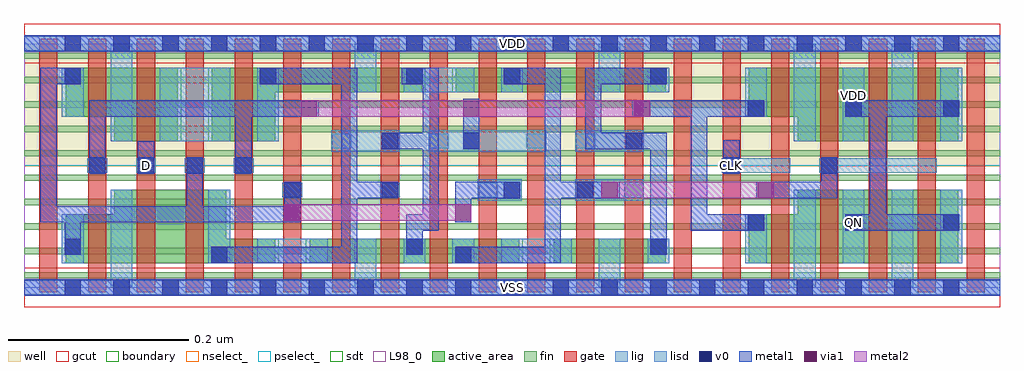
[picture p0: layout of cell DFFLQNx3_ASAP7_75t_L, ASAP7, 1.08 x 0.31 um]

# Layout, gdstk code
import gdstk
lib = gdstk.Library(unit=1e-6, precision=2.5e-10)
def R(c, l, rs):  # rectangles x0, y0, x1, y1
    for r in rs: c.add(gdstk.rectangle(r[:2], r[2:], *l))
def A(c, l, x, y, w, h, nx, ny, dx, dy):  # array of equal rectangles
    R(c, l, [(x+i*dx, y+j*dy, x+i*dx+w, y+j*dy+h) for i in range(nx) for j in range(ny)])
def P(c, l, *ps):  # polygons
    for p in ps: c.add(gdstk.Polygon(p, *l))
well = (1, 0)
fin = (2, 0)
gate = (7, 0)
gcut = (10, 0)
active_area = (11, 0)
nselect_ = (12, 0)
pselect_ = (13, 0)
lig = (16, 0)
lisd = (17, 0)
v0 = (18, 0)
metal1 = (19, 0)
metal2 = (20, 0)
via1 = (21, 0)
sdt = (88, 0)
L98_0 = (98, 0)
boundary = (100, 0)

dfflqnx3_asap7_75t_l = lib.new_cell('DFFLQNx3_ASAP7_75t_L')
R(dfflqnx3_asap7_75t_l, well, [(0,0.135,1.08,0.27)])
A(dfflqnx3_asap7_75t_l, fin, 0, 0.01, 1.08, 0.007, 1, 10, 0, 0.027)
A(dfflqnx3_asap7_75t_l, gate, 0.017, -0.005, 0.02, 0.28, 20, 1, 0.054, 0)
R(dfflqnx3_asap7_75t_l, gcut, [(0,-0.022,1.08,0.022), (0,0.248,1.08,0.292)])
R(dfflqnx3_asap7_75t_l, active_area, [(0.316,0.027,0.548,0.054), (0.586,0.027,0.71,0.054), (0.478,0.216,0.71,0.243)])
P(dfflqnx3_asap7_75t_l, active_area, [(0.802,0.027),(0.802,0.081),(0.856,0.081),(0.856,0.108),(1.034,0.108),(1.034,0.027)],
  [(0.046,0.027),(0.046,0.081),(0.1,0.081),(0.1,0.108),(0.224,0.108),(0.224,0.054),(0.278,0.054),(0.278,0.027)],
  [(0.856,0.162),(0.856,0.189),(0.802,0.189),(0.802,0.243),(1.034,0.243),(1.034,0.162)],
  [(0.208,0.162),(0.208,0.243),(0.44,0.243),(0.44,0.216),(0.278,0.216),(0.278,0.162)],
  [(0.1,0.162),(0.1,0.189),(0.046,0.189),(0.046,0.243),(0.17,0.243),(0.17,0.162)])
R(dfflqnx3_asap7_75t_l, nselect_, [(0,0,1.08,0.135)])
R(dfflqnx3_asap7_75t_l, pselect_, [(0,0.135,1.08,0.27)])
A(dfflqnx3_asap7_75t_l, lig, 0.286, 0.1, 0.022, 0.016, 3, 1, 0.108, 0)
A(dfflqnx3_asap7_75t_l, lig, 0.07, 0.127, 0.022, 0.016, 4, 1, 0.054, 0)
A(dfflqnx3_asap7_75t_l, lig, 0.34, 0.154, 0.022, 0.016, 3, 1, 0.108, 0)
R(dfflqnx3_asap7_75t_l, lig, [(0,-0.008,1.08,0.008), (0.664,0.1,0.686,0.116), (0.772,0.127,0.848,0.143), (0.88,0.127,1.01,0.143), (0.61,0.154,0.632,0.17), (0,0.262,1.08,0.278)])
R(dfflqnx3_asap7_75t_l, lisd, [(0.096,0,0.12,0.108), (0.366,0,0.39,0.054), (0.636,0,0.66,0.054), (0.852,0,0.876,0.108), (0.96,0,0.984,0.108), (0.042,0.027,0.066,0.081), (0.204,0.027,0.228,0.108), (0.258,0.027,0.336,0.054), (0.42,0.027,0.444,0.054), (0.474,0.027,0.498,0.054), (0.528,0.027,0.606,0.054), (0.69,0.027,0.714,0.054), (0.798,0.027,0.822,0.081), (0.906,0.027,0.93,0.108), (1.014,0.027,1.038,0.108), (0.502,0.096,0.551,0.12), (0.61,0.096,0.686,0.12), (0.34,0.15,0.416,0.174), (0.448,0.15,0.578,0.174), (0.61,0.15,0.686,0.174), (0.096,0.162,0.12,0.27), (0.15,0.162,0.228,0.243), (0.258,0.162,0.282,0.243), (0.852,0.162,0.876,0.27), (0.906,0.162,0.93,0.243), (0.96,0.162,0.984,0.27), (1.014,0.162,1.038,0.243), (0.042,0.189,0.066,0.243), (0.798,0.189,0.822,0.243), (0.366,0.216,0.39,0.27), (0.42,0.216,0.498,0.243), (0.528,0.216,0.552,0.243), (0.636,0.216,0.66,0.27), (0.69,0.216,0.714,0.243)])
A(dfflqnx3_asap7_75t_l, v0, 0.045, -0.009, 0.018, 0.018, 19, 2, 0.054, 0.27)
A(dfflqnx3_asap7_75t_l, v0, 0.801, 0.063, 0.018, 0.018, 3, 2, 0.108, 0.126)
A(dfflqnx3_asap7_75t_l, v0, 0.072, 0.126, 0.018, 0.018, 4, 1, 0.054, 0)
R(dfflqnx3_asap7_75t_l, v0, [(0.207,0.027,0.225,0.045), (0.477,0.027,0.495,0.045), (0.045,0.036,0.063,0.054), (0.423,0.036,0.441,0.054), (0.693,0.036,0.711,0.054), (0.288,0.099,0.306,0.117), (0.396,0.099,0.414,0.117), (0.531,0.099,0.549,0.117), (0.612,0.099,0.63,0.117), (0.774,0.126,0.792,0.144), (0.882,0.126,0.9,0.144), (0.396,0.153,0.414,0.171), (0.486,0.153,0.504,0.171), (0.666,0.153,0.684,0.171), (0.045,0.225,0.063,0.243), (0.261,0.225,0.279,0.243), (0.423,0.225,0.441,0.243), (0.531,0.225,0.549,0.243), (0.693,0.225,0.711,0.243)])
R(dfflqnx3_asap7_75t_l, metal1, [(0,-0.009,1.08,0.009), (0.126,0.126,0.144,0.162), (0.774,0.126,0.792,0.163), (0.396,0.153,0.459,0.171), (0.486,0.153,0.504,0.209), (0,0.261,1.08,0.279)])
P(dfflqnx3_asap7_75t_l, metal1, [(0.477,0.072),(0.477,0.117),(0.549,0.117),(0.549,0.099),(0.495,0.099),(0.495,0.072)],
  [(0.81,0.099),(0.81,0.117),(0.882,0.117),(0.882,0.144),(0.9,0.144),(0.9,0.099)],
  [(0.909,0.063),(0.909,0.081),(0.936,0.081),(0.936,0.189),(0.909,0.189),(0.909,0.207),(1.035,0.207),(1.035,0.189),(0.954,0.189),(0.954,0.081),(1.035,0.081),(1.035,0.063)],
  [(0.693,0.036),(0.693,0.153),(0.621,0.153),(0.621,0.243),(0.711,0.243),(0.711,0.225),(0.639,0.225),(0.639,0.171),(0.711,0.171),(0.711,0.036)],
  [(0.045,0.036),(0.045,0.072),(0.018,0.072),(0.018,0.243),(0.063,0.243),(0.063,0.225),(0.036,0.225),(0.036,0.09),(0.18,0.09),(0.18,0.144),(0.198,0.144),(0.198,0.09),(0.288,0.09),(0.288,0.117),(0.306,0.117),(0.306,0.072),(0.063,0.072),(0.063,0.036)],
  [(0.477,0.027),(0.477,0.045),(0.576,0.045),(0.576,0.225),(0.531,0.225),(0.531,0.243),(0.594,0.243),(0.594,0.117),(0.659,0.117),(0.659,0.099),(0.594,0.099),(0.594,0.027)],
  [(0.738,0.063),(0.738,0.189),(0.673,0.189),(0.673,0.207),(0.819,0.207),(0.819,0.189),(0.756,0.189),(0.756,0.081),(0.819,0.081),(0.819,0.063)],
  [(0.072,0.126),(0.072,0.207),(0.326,0.207),(0.326,0.189),(0.252,0.189),(0.252,0.126),(0.234,0.126),(0.234,0.189),(0.09,0.189),(0.09,0.126)],
  [(0.423,0.036),(0.423,0.081),(0.441,0.081),(0.441,0.225),(0.418,0.225),(0.418,0.243),(0.459,0.243),(0.459,0.063),(0.441,0.063),(0.441,0.036)],
  [(0.207,0.027),(0.207,0.045),(0.351,0.045),(0.351,0.225),(0.261,0.225),(0.261,0.243),(0.369,0.243),(0.369,0.117),(0.414,0.117),(0.414,0.099),(0.369,0.099),(0.369,0.027)])
R(dfflqnx3_asap7_75t_l, metal2, [(0.288,0.074,0.495,0.092), (0.639,0.099,0.83,0.117), (0.306,0.189,0.693,0.207)])
R(dfflqnx3_asap7_75t_l, via1, [(0.288,0.074,0.306,0.092), (0.477,0.074,0.495,0.092), (0.639,0.099,0.657,0.117), (0.812,0.099,0.83,0.117), (0.306,0.189,0.324,0.207), (0.486,0.189,0.504,0.207), (0.675,0.189,0.693,0.207)])
A(dfflqnx3_asap7_75t_l, sdt, 0.258, 0.027, 0.024, 0.027, 9, 1, 0.054, 0)
A(dfflqnx3_asap7_75t_l, sdt, 0.852, 0.027, 0.024, 0.081, 4, 2, 0.054, 0.135)
A(dfflqnx3_asap7_75t_l, sdt, 0.096, 0.162, 0.024, 0.081, 4, 1, 0.054, 0)
A(dfflqnx3_asap7_75t_l, sdt, 0.366, 0.216, 0.024, 0.027, 4, 1, 0.054, 0)
R(dfflqnx3_asap7_75t_l, sdt, [(0.042,0.027,0.066,0.081), (0.096,0.027,0.12,0.108), (0.204,0.027,0.228,0.108), (0.798,0.027,0.822,0.081), (0.042,0.189,0.066,0.243), (0.798,0.189,0.822,0.243), (0.636,0.216,0.66,0.243), (0.69,0.216,0.714,0.243)])
R(dfflqnx3_asap7_75t_l, L98_0, [(0,0,1.08,0.27)])
R(dfflqnx3_asap7_75t_l, boundary, [(0,0,1.08,0.27)])
dfflqnx3_asap7_75t_l.add(gdstk.Label('D', (0.135,0.135), layer=19, texttype=251))
dfflqnx3_asap7_75t_l.add(gdstk.Label('CLK', (0.783,0.135), layer=19, texttype=251))
dfflqnx3_asap7_75t_l.add(gdstk.Label('QN', (0.918,0.072), layer=19, texttype=251))
dfflqnx3_asap7_75t_l.add(gdstk.Label('VSS', (0.54,0), layer=19, texttype=251))
dfflqnx3_asap7_75t_l.add(gdstk.Label('VDD', (0.54,0.27), layer=19, texttype=251))
dfflqnx3_asap7_75t_l.add(gdstk.Label('VDD', (0.918,0.213), layer=1, texttype=251))
dfflqnx3_asap7_75t_l.add(gdstk.Label('VSS', (1.242,0.213), layer=3, texttype=251))

lib.write_gds('DFFLQNx3_ASAP7_75t_L.gds')
